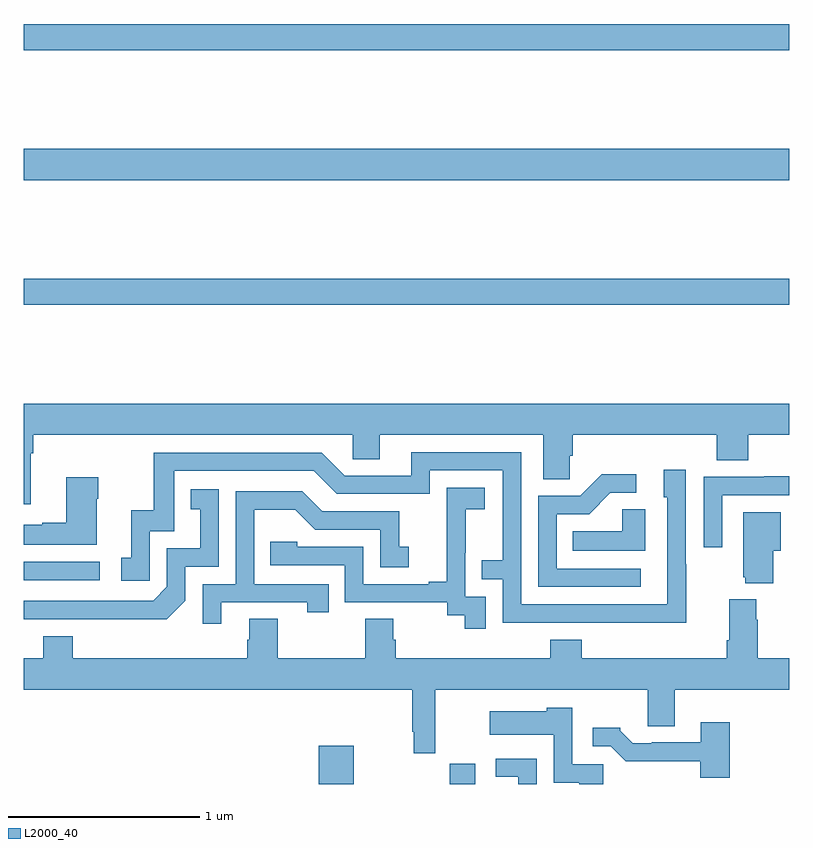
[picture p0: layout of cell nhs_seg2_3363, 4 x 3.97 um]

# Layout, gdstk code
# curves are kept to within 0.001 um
import gdstk
lib = gdstk.Library(unit=1e-6, precision=1e-09)
def R(c, l, rs):  # rectangles x0, y0, x1, y1
    for r in rs: c.add(gdstk.rectangle(r[:2], r[2:], *l))
def P(c, l, *ps):  # polygons
    for p in ps: c.add(gdstk.Polygon(p, *l))
L2000_40 = (2000, 40)

nhs_seg2_3363 = lib.new_cell('nhs_seg2_3363')
R(nhs_seg2_3363, L2000_40, [(288.542,657.8,288.725,658), (289.226,657.8,289.36,657.907), (287,658.866,287.398,658.962), (287,660.304,291,660.44), (287,660.956,291,661.12), (287,661.636,291,661.772)])
P(nhs_seg2_3363, L2000_40, [(287.035,659.528),(287.048,659.528),(287.048,659.624),(288.72,659.624),(288.72,659.497),(288.859,659.497),(288.859,659.624),(289.715,659.624),(289.715,659.392),(289.854,659.392),(289.854,659.515),(289.868,659.515),(289.868,659.624),(290.621,659.624),(290.621,659.491),(290.786,659.491),(290.786,659.624),(291,659.624),(291,659.788),(287,659.788),(287,659.262),(287.035,659.262)],
  [(290.463,658.949),(290.46,658.949),(290.46,659.443),(290.345,659.443),(290.345,659.298),(290.364,659.298),(290.364,658.74),(289.599,658.74),(289.599,659.535),(289.025,659.535),(289.025,659.412),(288.678,659.412),(288.558,659.532),(287.679,659.532),(287.679,659.23),(287.561,659.23),(287.561,658.983),(287.508,658.983),(287.508,658.863),(287.658,658.863),(287.658,659.121),(287.787,659.121),(287.787,659.436),(288.516,659.436),(288.636,659.316),(289.122,659.316),(289.122,659.439),(289.503,659.439),(289.503,658.97),(289.393,658.97),(289.393,658.869),(289.503,658.869),(289.503,658.644),(290.463,658.643)],
  [(290.224,658.926),(289.785,658.926),(289.785,659.211),(289.954,659.211),(290.065,659.322),(290.2,659.322),(290.2,659.42),(290.021,659.42),(289.908,659.307),(289.689,659.307),(289.689,658.83),(290.224,658.83)],
  [(290.649,659.31),(291,659.31),(291,659.408),(290.869,659.408),(290.869,659.406),(290.553,659.406),(290.553,659.037),(290.649,659.037)],
  [(287.38,659.291),(287.388,659.291),(287.388,659.404),(287.222,659.404),(287.222,659.165),(287.096,659.165),(287.096,659.155),(287,659.155),(287,659.051),(287.38,659.051)],
  [(289.413,658.779),(289.308,658.779),(289.308,659.009),(289.31,659.009),(289.31,659.237),(289.408,659.237),(289.408,659.347),(289.21,659.347),(289.21,659.141),(289.211,659.141),(289.211,658.858),(289.115,658.858),(289.115,658.845),(288.774,658.845),(288.774,659.04),(288.429,659.04),(288.429,659.067),(288.289,659.067),(288.289,658.944),(288.678,658.944),(288.678,658.749),(289.212,658.749),(289.212,658.681),(289.305,658.681),(289.305,658.611),(289.413,658.611)],
  [(287.844,658.758),(287.844,658.935),(288.018,658.935),(288.018,659.341),(287.872,659.341),(287.872,659.235),(287.921,659.235),(287.921,659.031),(287.748,659.031),(287.748,658.83),(287.676,658.758),(287,658.758),(287,658.662),(287.746,658.661)],
  [(288.031,658.749),(288.482,658.749),(288.482,658.698),(288.593,658.698),(288.593,658.845),(288.204,658.845),(288.204,659.234),(288.418,659.234),(288.522,659.13),(288.864,659.13),(288.864,658.932),(289.012,658.932),(289.012,659.041),(288.963,659.041),(288.963,659.226),(288.559,659.226),(288.454,659.331),(288.108,659.331),(288.108,658.845),(287.934,658.845),(287.934,658.638),(288.031,658.638)],
  [(290.248,659.237),(290.127,659.237),(290.127,659.122),(289.87,659.122),(289.87,659.018),(290.248,659.018)],
  [(290.917,659.018),(290.956,659.018),(290.956,659.221),(290.759,659.221),(290.759,658.881),(290.771,658.881),(290.771,658.85),(290.917,658.85)],
  [(290.261,658.102),(290.401,658.102),(290.401,658.292),(291,658.292),(291,658.456),(290.835,658.456),(290.835,658.658),(290.827,658.658),(290.827,658.765),(290.687,658.765),(290.687,658.552),(290.675,658.552),(290.675,658.456),(289.916,658.456),(289.916,658.555),(289.751,658.555),(289.751,658.456),(288.944,658.456),(288.944,658.554),(288.931,658.554),(288.931,658.664),(288.784,658.664),(288.784,658.456),(288.327,658.456),(288.327,658.664),(288.179,658.664),(288.179,658.554),(288.167,658.554),(288.167,658.456),(287.255,658.456),(287.255,658.573),(287.102,658.573),(287.102,658.456),(287,658.456),(287,658.292),(289.03,658.292),(289.03,658.072),(289.038,658.072),(289.038,657.96),(289.151,657.96),(289.151,658.292),(290.261,658.292)],
  [(290.029,657.903),(289.866,657.903),(289.866,658.198),(289.734,658.198),(289.734,658.18),(289.434,658.18),(289.434,658.058),(289.77,658.058),(289.77,657.806),(289.904,657.806),(289.904,657.8),(290.029,657.8)],
  [(290.69,658.123),(290.537,658.123),(290.537,658.017),(290.281,658.017),(290.281,658.014),(290.182,658.014),(290.118,658.078),(290.118,658.093),(289.974,658.093),(289.974,657.996),(290.067,657.996),(290.146,657.918),(290.535,657.918),(290.535,657.833),(290.69,657.833)],
  [(289.68,657.933),(289.467,657.933),(289.467,657.837),(289.584,657.837),(289.584,657.8),(289.68,657.8)])

lib.write_gds('nhs_seg2_3363.gds')
